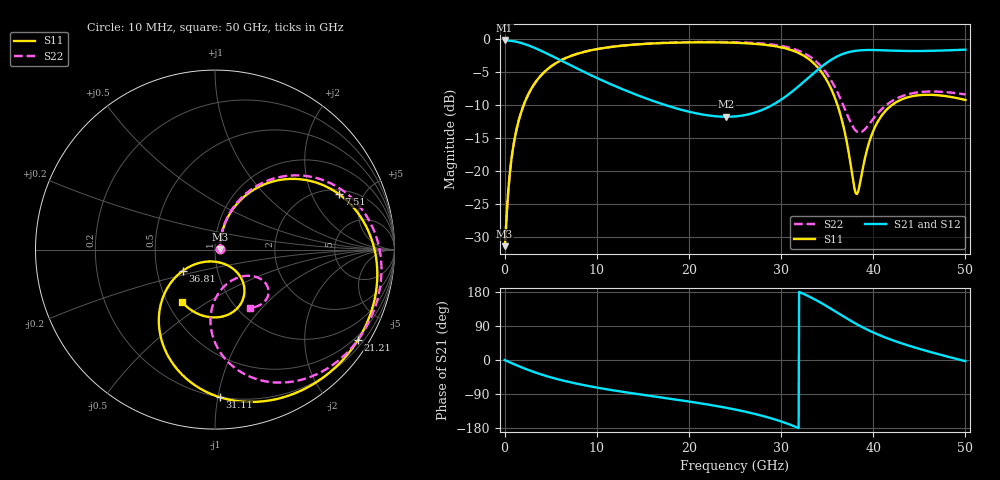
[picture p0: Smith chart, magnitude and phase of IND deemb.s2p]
# GHz S RI R 50
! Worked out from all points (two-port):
!   1001 points, 10 MHz to 50 GHz, reference 50 ohm
!   highest |S21| = -0.24 dB at 10 MHz (marker M1); lowest = -11.8 dB at 24.06 GHz (marker M2)
!   |S21| within 3 dB of the highest: start of sweep to 6.084 GHz; 35.35 GHz to end of sweep
!   lowest |S11| = -31.3 dB at 10 MHz (marker M3), VSWR 1.06, Z = 52.8 + j0.166 ohm
!   |S11| at or under -10 dB: start of sweep to 2.08 GHz; 36.12 GHz to 42.04 GHz (5.915 GHz wide, 15.1 % of centre)
!   |S22| runs from -31.3 to -0.5 dB; largest |S21 - S12| = 3.6e-15
!   S11 on the Smith chart (normalised r, x): 10 MHz: 1.06, +0.00; 7.51 GHz: 2.23, +3.23; 21.21 GHz: 0.38, -3.43; 31.11 GHz: 0.20, -1.01; 36.81 GHz: 0.68, -0.17; 50 GHz: 0.59, -0.39
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0.01  0.027 0.00157  0.9729 -0.00183  0.9729 -0.00183  0.027 0.00157
0.86  0.0497 0.1304  0.9505 -0.1537  0.9505 -0.1537  0.0487 0.1308
2.11  0.1497 0.2831  0.8515 -0.3411  0.8515 -0.3411  0.1442 0.286
4.41  0.4111 0.3936  0.5901 -0.5198  0.5901 -0.5198  0.3946 0.4102
7.51  0.6899 0.3096  0.3 -0.536  0.3 -0.536  0.6662 0.3581
8.36  0.7423 0.2658  0.2418 -0.5211  0.2418 -0.5211  0.7188 0.3243
12.21  0.8791 0.0365  0.0627 -0.4287  0.0627 -0.4287  0.8691 0.1425
16.71  0.8965 -0.2383  -0.0449 -0.3255  -0.0449 -0.3255  0.9265 -0.0779
21.21  0.7977 -0.5018  -0.1104 -0.2464  -0.1104 -0.2464  0.8996 -0.2968
24.06  0.6701 -0.6571  -0.1519 -0.2082  -0.1519 -0.2082  0.8391 -0.4375
25.01  0.6136 -0.7046  -0.1688 -0.1968  -0.1688 -0.1968  0.8095 -0.4848
28.61  0.3175 -0.8379  -0.2679 -0.1447  -0.2679 -0.1447  0.6338 -0.6574
31.11  0.0252 -0.822  -0.3908 -0.0563  -0.3908 -0.0563  0.4232 -0.7368
33.36  -0.2398 -0.6282  -0.5152 0.1506  -0.5152 0.1506  0.1677 -0.6953
35.06  -0.3111 -0.3561  -0.5151 0.4245  -0.5151 0.4245  0.00728 -0.5338
36.81  -0.1773 -0.1166  -0.3197 0.7048  -0.3197 0.7048  -0.0115 -0.3074
37.91  -0.0402 -0.0665  -0.1213 0.7998  -0.1213 0.7998  0.052 -0.2039
38.26  0.000595 -0.0675  -0.0552 0.8133  -0.0552 0.8133  0.0779 -0.1823
39.86  0.1315 -0.1373  0.2228 0.7931  0.2228 0.7931  0.1924 -0.146
41.71  0.1614 -0.2564  0.4603 0.6744  0.4603 0.6744  0.274 -0.1791
45.51  0.0144 -0.3772  0.7289 0.3536  0.7289 0.3536  0.285 -0.2782
50  -0.1825 -0.2929  0.8276 -0.0451  0.8276 -0.0451  0.1973 -0.3245
